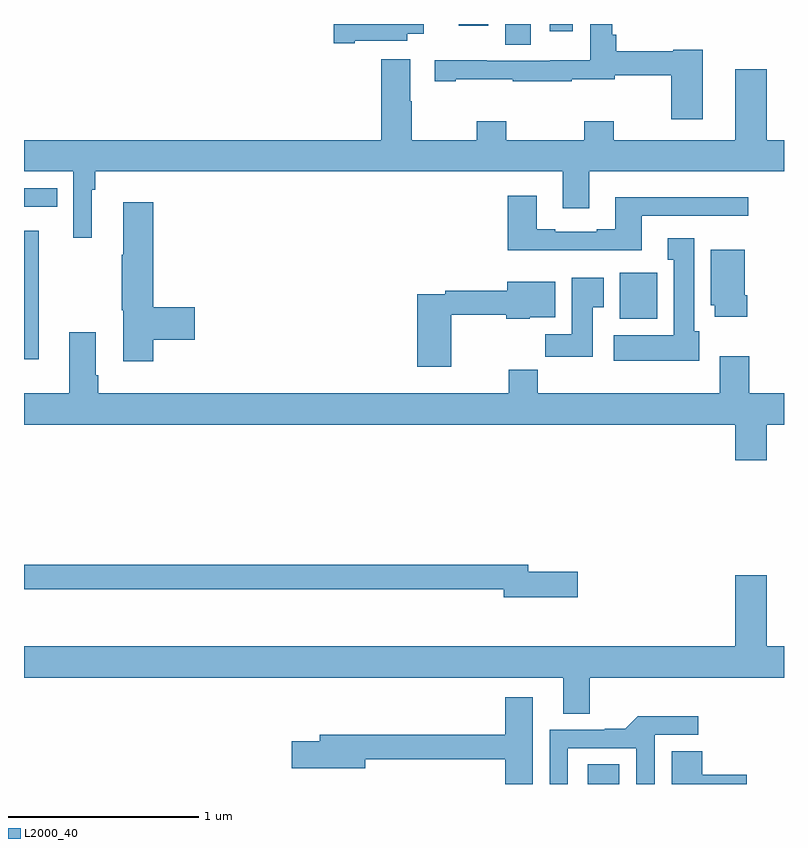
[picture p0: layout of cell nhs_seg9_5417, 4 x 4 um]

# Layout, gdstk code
import gdstk
lib = gdstk.Library(unit=1e-6, precision=1e-09)
def R(c, l, rs):  # rectangles x0, y0, x1, y1
    for r in rs: c.add(gdstk.rectangle(r[:2], r[2:], *l))
def P(c, l, *ps):  # polygons
    for p in ps: c.add(gdstk.Polygon(p, *l))
L2000_40 = (2000, 40)

nhs_seg9_5417 = lib.new_cell('nhs_seg9_5417')
R(nhs_seg9_5417, L2000_40, [(427.967,1222.5,428.134,1222.604), (425,1224.735,425.077,1225.411), (428.135,1224.95,428.332,1225.192), (425,1225.539,425.174,1225.635), (427.532,1226.392,427.666,1226.5), (427.766,1226.463,427.888,1226.5), (427.289,1226.49,427.444,1226.5)])
P(nhs_seg9_5417, L2000_40, [(426.742,1226.411),(427.018,1226.411),(427.018,1226.45),(427.105,1226.45),(427.105,1226.5),(426.63,1226.5),(426.63,1226.399),(426.742,1226.399)],
  [(428.572,1226.365),(428.418,1226.365),(428.418,1226.357),(428.118,1226.357),(428.118,1226.443),(428.096,1226.443),(428.096,1226.5),(427.98,1226.5),(427.98,1226.308),(427.77,1226.308),(427.77,1226.307),(427.436,1226.307),(427.436,1226.309),(427.161,1226.309),(427.161,1226.199),(427.273,1226.199),(427.273,1226.209),(427.573,1226.209),(427.573,1226.199),(427.883,1226.199),(427.883,1226.209),(428.11,1226.209),(428.11,1226.229),(428.407,1226.229),(428.407,1225.998),(428.572,1225.998)],
  [(427.835,1225.53),(427.975,1225.53),(427.975,1225.724),(429,1225.724),(429,1225.888),(428.908,1225.888),(428.908,1226.263),(428.744,1226.263),(428.744,1225.888),(428.103,1225.888),(428.103,1225.987),(427.948,1225.987),(427.948,1225.888),(427.539,1225.888),(427.539,1225.987),(427.384,1225.987),(427.384,1225.888),(427.041,1225.888),(427.041,1226.093),(427.033,1226.093),(427.033,1226.314),(426.881,1226.314),(426.881,1225.888),(425,1225.888),(425,1225.724),(425.259,1225.724),(425.259,1225.374),(425.356,1225.374),(425.356,1225.628),(425.375,1225.628),(425.375,1225.724),(427.835,1225.724)],
  [(428.251,1225.491),(428.812,1225.491),(428.812,1225.588),(428.111,1225.588),(428.111,1225.42),(428.015,1225.42),(428.015,1225.407),(427.795,1225.407),(427.795,1225.42),(427.699,1225.42),(427.699,1225.597),(427.547,1225.597),(427.547,1225.31),(428.251,1225.31)],
  [(425.681,1224.839),(425.899,1224.839),(425.899,1225.01),(425.681,1225.01),(425.681,1225.561),(425.522,1225.561),(425.522,1225.286),(425.515,1225.286),(425.515,1224.993),(425.522,1224.993),(425.522,1224.726),(425.681,1224.726)],
  [(428.554,1224.882),(428.527,1224.882),(428.527,1225.372),(428.387,1225.372),(428.387,1225.259),(428.42,1225.259),(428.42,1224.862),(428.103,1224.862),(428.103,1224.728),(428.554,1224.728)],
  [(428.807,1225.072),(428.794,1225.072),(428.794,1225.312),(428.615,1225.312),(428.615,1225.02),(428.636,1225.02),(428.636,1224.96),(428.807,1224.96)],
  [(427.993,1225.009),(428.05,1225.009),(428.05,1225.165),(427.883,1225.165),(427.883,1224.868),(427.744,1224.868),(427.744,1224.75),(427.993,1224.75)],
  [(427.248,1224.969),(427.537,1224.969),(427.537,1224.95),(427.662,1224.95),(427.662,1224.956),(427.795,1224.956),(427.795,1225.144),(427.544,1225.144),(427.544,1225.097),(427.216,1225.097),(427.216,1225.077),(427.07,1225.077),(427.07,1224.696),(427.248,1224.696)],
  [(428.908,1224.392),(429,1224.392),(429,1224.556),(428.816,1224.556),(428.816,1224.751),(428.663,1224.751),(428.663,1224.556),(427.703,1224.556),(427.703,1224.68),(427.552,1224.68),(427.552,1224.556),(425.39,1224.556),(425.39,1224.652),(425.377,1224.652),(425.377,1224.877),(425.237,1224.877),(425.237,1224.556),(425,1224.556),(425,1224.392),(428.744,1224.392),(428.744,1224.204),(428.908,1224.204)],
  [(427.915,1223.618),(427.654,1223.618),(427.654,1223.654),(425,1223.654),(425,1223.526),(427.526,1223.526),(427.526,1223.483),(427.915,1223.483)],
  [(427.978,1223.06),(429,1223.06),(429,1223.224),(428.908,1223.224),(428.908,1223.599),(428.744,1223.599),(428.744,1223.224),(425,1223.224),(425,1223.06),(427.838,1223.06),(427.838,1222.87),(427.978,1222.87)],
  [(427.678,1222.957),(427.532,1222.957),(427.532,1222.759),(426.557,1222.759),(426.557,1222.725),(426.408,1222.725),(426.408,1222.583),(426.796,1222.583),(426.796,1222.63),(427.532,1222.63),(427.532,1222.5),(427.678,1222.5)],
  [(427.863,1222.689),(428.223,1222.689),(428.223,1222.5),(428.319,1222.5),(428.319,1222.758),(428.548,1222.758),(428.548,1222.856),(428.231,1222.856),(428.165,1222.79),(428.057,1222.79),(428.057,1222.785),(427.767,1222.785),(427.767,1222.5),(427.863,1222.5)],
  [(428.803,1222.55),(428.57,1222.55),(428.57,1222.673),(428.408,1222.673),(428.408,1222.5),(428.803,1222.5)])

lib.write_gds('nhs_seg9_5417.gds')
